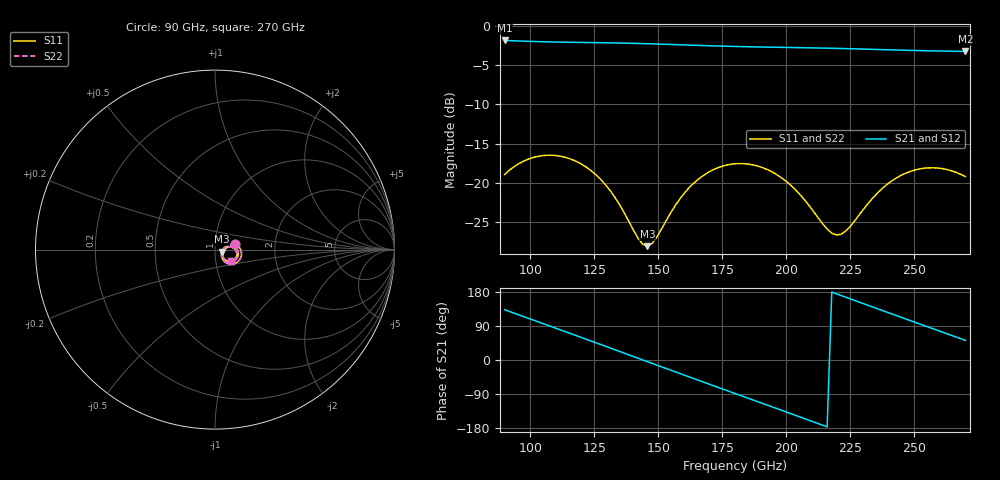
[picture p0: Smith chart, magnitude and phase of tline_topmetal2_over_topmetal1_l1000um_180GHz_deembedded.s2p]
! Created with skrf 2.2.0 (http://scikit-rf.org).
# GHz S DB R 50.0
! Port[1] = P1
! Port[2] = P2
!freq dBS11 angS11 dBS21 angS21 dBS12 angS12 dBS22 angS22
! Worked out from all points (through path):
!   101 points, 90 GHz to 270 GHz, reference 50 ohm
!   highest |S21| = -1.86 dB at 90 GHz (marker M1); lowest = -3.3 dB at 270 GHz (marker M2)
!   group delay of S21, straight-line fit = 6.81 ps
!   lowest |S11| = -28.0 dB at 145.8 GHz (marker M3), VSWR 1.08, Z = 54 - j1.18 ohm
!   |S11| at or under -10 dB: start of sweep to end of sweep
!   |S22| runs from -28.1 to -16.4 dB; largest |S21 - S12| = 8.9e-14
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90  -18.90 15.7  -1.86 132.7  -1.86 132.7  -18.86 15.1
99  -16.98 1.0  -1.96 110.7  -1.96 110.7  -16.96 0.4
106.2  -16.46 -11.9  -2.03 93.1  -2.03 93.1  -16.44 -12.5
113.4  -16.70 -24.8  -2.08 75.6  -2.08 75.6  -16.68 -25.5
120.6  -17.70 -37.0  -2.11 57.9  -2.11 57.9  -17.68 -37.7
133.2  -21.87 -51.3  -2.18 26.8  -2.18 26.8  -21.87 -52.2
142.2  -27.05 -36.4  -2.24 4.5  -2.24 4.5  -27.14 -37.4
145.8  -28.02 -15.9  -2.27 -4.5  -2.27 -4.5  -28.15 -16.5
151.2  -25.90 9.9  -2.33 -17.8  -2.33 -17.8  -25.97 9.7
158.4  -22.04 16.5  -2.41 -35.6  -2.41 -35.6  -22.05 16.2
165.6  -19.52 10.2  -2.49 -53.2  -2.49 -53.2  -19.52 9.8
172.8  -18.11 -0.0  -2.56 -70.8  -2.56 -70.8  -18.10 -0.6
180  -17.54 -11.5  -2.62 -88.3  -2.62 -88.3  -17.53 -12.2
194.4  -18.56 -33.8  -2.71 -123.5  -2.71 -123.5  -18.56 -34.7
203.4  -20.78 -43.4  -2.76 -145.5  -2.76 -145.5  -20.80 -44.6
210.6  -23.58 -43.4  -2.80 -163.2  -2.80 -163.2  -23.66 -44.8
217.8  -26.36 -26.2  -2.85 179.1  -2.85 179.1  -26.56 -27.3
221.4  -26.51 -11.2  -2.88 170.3  -2.88 170.3  -26.73 -11.8
230.4  -23.24 9.8  -2.96 148.1  -2.96 148.1  -23.33 9.7
241.2  -19.73 4.9  -3.06 121.7  -3.06 121.7  -19.76 4.6
255.6  -18.06 -14.8  -3.17 86.7  -3.17 86.7  -18.07 -15.4
270  -19.18 -34.9  -3.26 51.7  -3.26 51.7  -19.20 -35.9
